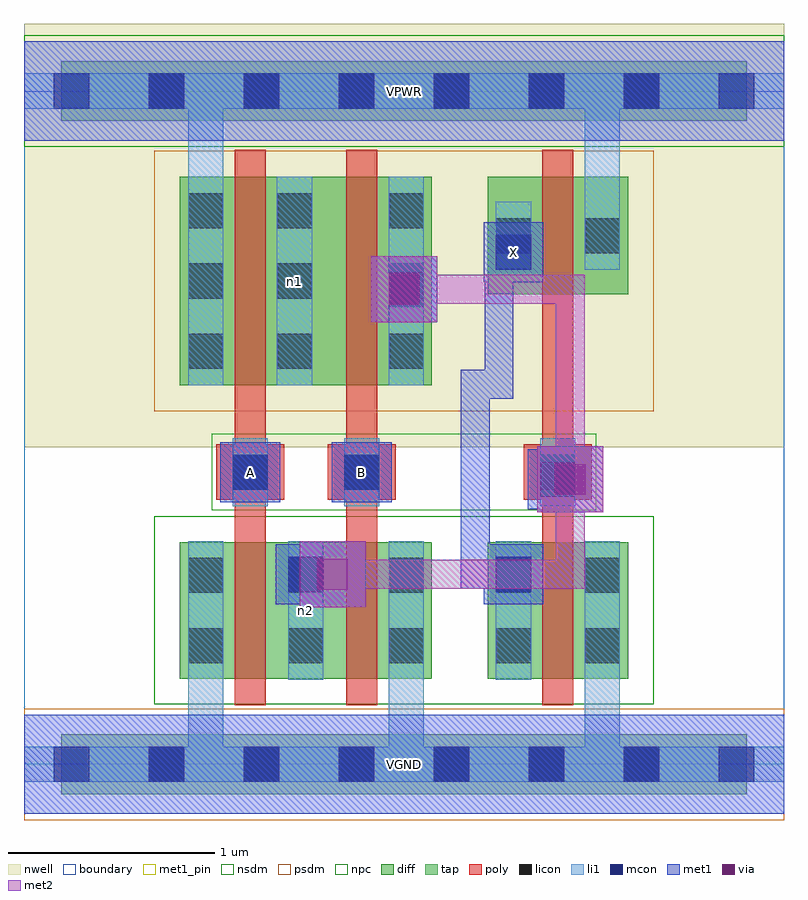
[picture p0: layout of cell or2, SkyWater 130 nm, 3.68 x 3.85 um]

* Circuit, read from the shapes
.subckt or2 A B VGND VPWR X n1 n2
XM1 n2 A VGND VGND sky130_fd_pr__nfet_01v8 w=0.66 l=0.15
XM2 VGND B n2 VGND sky130_fd_pr__nfet_01v8 w=0.66 l=0.15
XM3 VGND n2 X VGND sky130_fd_pr__nfet_01v8 w=0.66 l=0.15
XM4 n1 A VPWR VPWR sky130_fd_pr__pfet_01v8 w=1.01 l=0.15
XM5 n2 B n1 VPWR sky130_fd_pr__pfet_01v8 w=1.01 l=0.15
XM6 VPWR n2 X VPWR sky130_fd_pr__pfet_01v8 w=0.57 l=0.15
.ends

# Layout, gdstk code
import gdstk
lib = gdstk.Library(unit=1e-6, precision=1e-09)
def R(c, l, rs):  # rectangles x0, y0, x1, y1
    for r in rs: c.add(gdstk.rectangle(r[:2], r[2:], *l))
def A(c, l, x, y, w, h, nx, ny, dx, dy):  # array of equal rectangles
    R(c, l, [(x+i*dx, y+j*dy, x+i*dx+w, y+j*dy+h) for i in range(nx) for j in range(ny)])
nwell = (64, 20)
diff = (65, 20)
tap = (65, 44)
poly = (66, 20)
licon = (66, 44)
li1 = (67, 20)
mcon = (67, 44)
met1_pin = (68, 16)
met1 = (68, 20)
via = (68, 44)
met2 = (69, 20)
nsdm = (93, 44)
psdm = (94, 20)
npc = (95, 20)
boundary = (235, 4)

or2 = lib.new_cell('or2')
R(or2, nwell, [(0,1.535,3.68,3.585)])
R(or2, diff, [(0.755,0.415,1.975,1.075), (2.245,0.415,2.925,1.075), (0.755,1.835,1.975,2.845), (2.245,2.275,2.925,2.845)])
R(or2, tap, [(0.18,-0.145,3.5,0.145), (0.18,3.115,3.5,3.405)])
R(or2, poly, [(1.02,0.285,1.17,2.975), (1.56,0.285,1.71,2.975), (2.51,0.285,2.66,2.975), (0.93,1.28,1.26,1.55), (1.47,1.28,1.8,1.55), (2.42,1.28,2.75,1.55)])
A(or2, licon, 0.605, -0.085, 0.17, 0.17, 6, 2, 0.46, 3.26)
A(or2, licon, 0.795, 0.49, 0.17, 0.17, 3, 2, 0.485, 0.34)
A(or2, licon, 0.795, 1.915, 0.17, 0.17, 1, 3, 0, 0.34)
A(or2, licon, 1.225, 1.915, 0.17, 0.17, 1, 3, 0, 0.34)
A(or2, licon, 1.765, 1.915, 0.17, 0.17, 1, 3, 0, 0.34)
R(or2, licon, [(2.285,0.49,2.455,0.66), (2.715,0.49,2.885,0.66), (2.285,0.83,2.455,1), (2.715,0.83,2.885,1), (1.01,1.33,1.18,1.5), (1.55,1.33,1.72,1.5), (2.5,1.33,2.67,1.5), (2.285,2.475,2.455,2.645), (2.715,2.475,2.885,2.645)])
A(or2, li1, 0.795, 0.41, 0.17, 0.67, 3, 1, 0.485, 0)
R(or2, li1, [(0,-0.085,3.68,0.085), (0.795,-0.085,0.965,1.08), (1.765,-0.085,1.935,1.08), (2.715,-0.085,2.885,1.08), (2.285,0.41,2.455,1.08), (2.715,0.41,2.885,1.08), (1.01,1.25,1.18,1.58), (1.55,1.25,1.72,1.58), (2.5,1.25,2.67,1.58), (0.795,1.835,0.965,2.845), (0.795,1.835,0.965,3.345), (1.225,1.835,1.395,2.845), (1.765,1.835,1.935,2.845), (2.285,2.395,2.455,2.725), (2.715,2.395,2.885,2.725), (2.715,2.395,2.885,3.345), (0,3.175,3.68,3.345)])
A(or2, mcon, 0.145, -0.085, 0.17, 0.17, 8, 2, 0.46, 3.26)
R(or2, mcon, [(1.28,0.835,1.45,1.005), (2.285,0.835,2.455,1.005), (2.5,1.295,2.67,1.465), (1.01,1.33,1.18,1.5), (1.55,1.33,1.72,1.5), (1.765,2.215,1.935,2.385), (2.285,2.395,2.455,2.565)])
R(or2, met1_pin, [(0,-0.24,3.68,0.24), (0.95,1.27,1.24,1.56), (1.49,1.27,1.78,1.56), (2.225,2.335,2.515,2.625), (0,3.02,3.68,3.5)])
R(or2, met1, [(0,-0.24,3.68,0.24), (1.335,0.76,1.655,1.08), (1.22,0.775,1.51,1.065), (2.225,0.775,2.515,1.065), (1.295,0.85,1.565,0.99), (2.115,0.85,2.44,0.99), (2.115,0.85,2.255,1.91), (2.485,1.22,2.805,1.54), (2.44,1.235,2.73,1.525), (0.95,1.27,1.24,1.56), (1.49,1.27,1.78,1.56), (2.515,1.31,2.715,1.45), (2.115,1.77,2.37,1.91), (2.23,1.77,2.37,2.37), (1.68,2.14,2,2.46), (1.705,2.155,1.995,2.445), (1.77,2.23,1.92,2.37), (2.23,2.23,2.37,2.55), (2.225,2.335,2.515,2.625), (2.23,2.41,2.44,2.55), (0,3.02,3.68,3.5)])
R(or2, via, [(1.42,0.845,1.57,0.995), (2.57,1.305,2.72,1.455), (1.765,2.225,1.915,2.375)])
R(or2, met2, [(1.335,0.76,1.655,1.08), (1.425,0.85,2.715,0.99), (2.575,0.85,2.715,1.45), (2.485,1.22,2.805,1.54), (2.575,1.31,2.715,2.37), (1.68,2.14,2,2.46), (1.77,2.23,2.715,2.37)])
R(or2, nsdm, [(0.63,0.29,3.05,1.2), (0,2.99,3.68,3.53)])
R(or2, psdm, [(0,-0.27,3.68,0.27), (0.63,1.71,3.05,2.97)])
R(or2, npc, [(0.91,1.23,2.77,1.6)])
R(or2, boundary, [(0,0,3.68,3.26)])
or2.add(gdstk.Label('n2', (1.365,0.745), layer=67, texttype=5))
or2.add(gdstk.Label('n1', (1.31,2.34), layer=67, texttype=5))
or2.add(gdstk.Label('A', (1.095,1.415), layer=68, texttype=5))
or2.add(gdstk.Label('B', (1.635,1.415), layer=68, texttype=5))
or2.add(gdstk.Label('X', (2.37,2.48), layer=68, texttype=5))
or2.add(gdstk.Label('VPWR', (1.84,3.26), layer=68, texttype=5))
or2.add(gdstk.Label('VGND', (1.84,0), layer=68, texttype=5))
or2.add(gdstk.Label('A', (1.095,1.415), layer=68, texttype=16))
or2.add(gdstk.Label('B', (1.635,1.415), layer=68, texttype=16))
or2.add(gdstk.Label('X', (2.37,2.48), layer=68, texttype=16))
or2.add(gdstk.Label('VPWR', (1.84,3.26), layer=68, texttype=16))
or2.add(gdstk.Label('VGND', (1.84,0), layer=68, texttype=16))

lib.write_gds('or2.gds')
